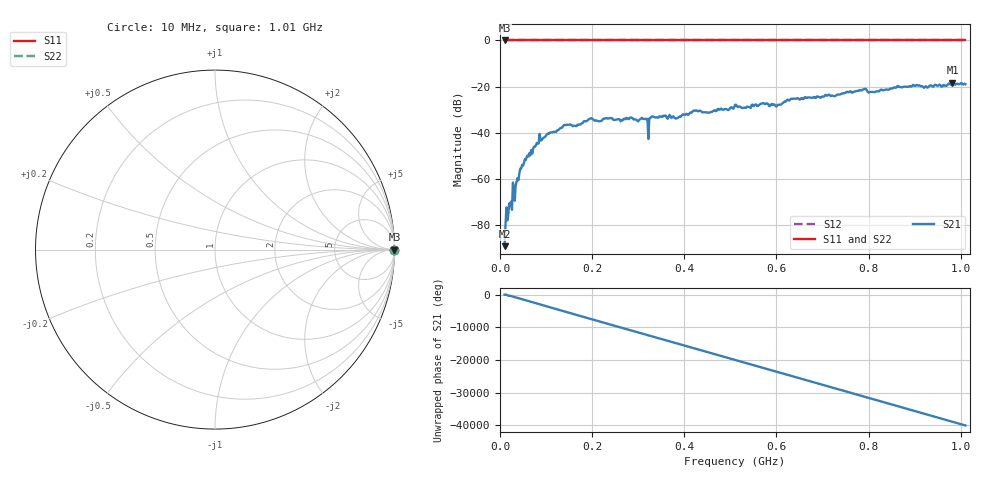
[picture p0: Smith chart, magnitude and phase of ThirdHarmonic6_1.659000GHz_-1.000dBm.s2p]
! 8/16/2025 7:52:43 PM
! C:\ANRITSUVNA\TEMP\TEMP.S2P
! CHANNEL.1
! TR.MEASUREMENT
! RAW.DATA
! RF.CORRECTION.OFF
! AVERAGING.OFF
! IF.BANDWIDTH: 5KHZ
! SWEEPTYPE:  FREQ.SWEEP(Linear)
! Reference Plane Port Info
! PORT:  PORT1  PORT2
! DISTANCE:  0  m  0  m
! TIME:  0  s  0  s
! PHASE.OFFSET:  0  deg.  0  deg.
! LOSS:  0  dB  0  dB
! REF.LOSS:  0  dB  0  dB
! REF.FREQ:  0  Hz  0  Hz
! Power Info
! POWER:  -20  dBm  -20  dBm
! EFF.POWER:  -20  dBm  -20  dBm
! SOURCE.ATTEN:  0  dB  0  dB
! TEST.ATTEN:  0  dB  0  dB
# GHZ S RI R 50.0
! FREQ.GHZ  S11RE  S11IM  S21RE  S21IM  S12RE  S12IM  S22RE  S22IM
!; PortSelection: Port_12
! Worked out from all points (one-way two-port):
!   501 points, 10 MHz to 1.01 GHz, reference 50 ohm
!   highest |S21| = -18.29 dB at 982 MHz (marker M1); lowest = -89.0 dB at 10 MHz (marker M2)
!   lowest |S11| = 0.0 dB at 10 MHz (marker M3)
!   |S11| at or under -10 dB: nowhere
!   |S22| runs from 0.0 to 0.0 dB; largest |S21 - S12| = 1.1
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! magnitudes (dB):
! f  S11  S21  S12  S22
! 10 MHz  0.0  -89.0  0.0  0.0
! 22 MHz  0.0  -71.5  0.0  0.0
! 46 MHz  0.0  -55.4  0.0  0.0
! 82 MHz  0.0  -44.7  0.0  0.0
! 142 MHz  0.0  -36.7  0.0  0.0
! 178 MHz  0.0  -35.9  0.0  0.0
! 196 MHz  0.0  -33.7  0.0  0.0
! 284 MHz  0.0  -33.3  0.0  0.0
! 316 MHz  0.0  -33.9  0.0  0.0
! 318 MHz  0.0  -34.2  0.0  0.0
! 326 MHz  0.0  -33.6  0.0  0.0
! 328 MHz  0.0  -33.3  0.0  0.0
! 344 MHz  0.0  -33.4  0.0  0.0
! 384 MHz  0.0  -33.6  0.0  0.0
! 422 MHz  0.0  -30.3  0.0  0.0
! 510 MHz  0.0  -27.9  0.0  0.0
! 602 MHz  0.0  -28.0  0.0  0.0
! 634 MHz  0.0  -25.3  0.0  0.0
! 678 MHz  0.0  -24.8  0.0  0.0
! 844 MHz  0.0  -21.3  0.0  0.0
! 982 MHz  0.0  -18.3  0.0  0.0
! 1.01 GHz  0.0  -18.9  0.0  0.0
